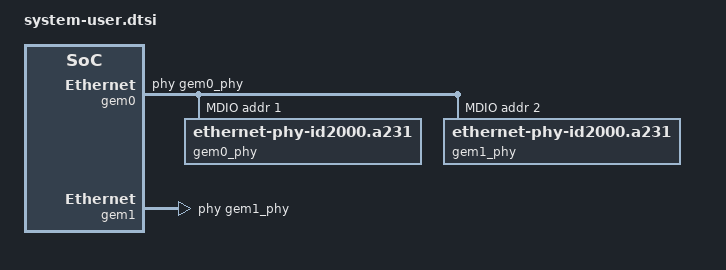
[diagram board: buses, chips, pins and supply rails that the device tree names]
// SPDX-License-Identifier: MIT
// Copyright (C) 2025-2026, Opsero Electronic Design Inc.  All rights reserved.

/*
 * SoC-side / PL device-tree fixups for VCK190, layered on top of the
 * gen-machineconf / lopper-generated <...>-linux.dts (which already carries
 * the PS config and the PL xilinx_qdma PCIe Root Ports from the XSA via
 * pl.dtsi). Scoped to the Linux domain by device-tree.bbappend.
 *
 * PCIe outbound-window fix (qdma_0 / qdma_1 `ranges`):
 *   The SDT/lopper-generated `ranges` set the PCI base address to 0x0 (i.e.
 *   PCI 0x0 -> CPU 0xa8000000), but the Versal QDMA bridge forwards CPU
 *   addresses 1:1 to the PCIe bus. With the mismatched ranges the kernel
 *   assigns endpoint BARs near PCI 0x0 while CPU accesses through the window
 *   land at PCI 0xa8000000 -> nothing responds -> AXI decode error surfaces
 *   as an Asynchronous SError and the kernel panics in nvme_pci_enable.
 *   PetaLinux's HSI-generated DT uses 1:1 ranges (PCI addr == CPU addr); we
 *   override to match. (Confirmed on hardware: with this fix both QDMA Root
 *   Ports enumerate and both NVMe SSDs probe cleanly.)
 *
 *   Format: <pci_addr(3 cells) cpu_addr(2 cells) size(2 cells)>; first entry
 *   is the 32-bit MEM window, second is the 64-bit (prefetchable) window.
 */

&qdma_0 {
	ranges = <0x02000000 0x0 0xa8000000  0x0 0xa8000000  0x0 0x04000000>,
		 <0x43000000 0x4 0x80000000  0x4 0x80000000  0x0 0x40000000>;
};

&qdma_1 {
	ranges = <0x02000000 0x0 0xac000000  0x0 0xac000000  0x0 0x04000000>,
		 <0x43000000 0x4 0xc0000000  0x4 0xc0000000  0x0 0x40000000>;
};

/* Board RJ45s (GEM0 = u198 PHY, GEM1 = u134 PHY): the SDT flow does not
 * describe the board-level TI DP83867 PHYs, so Linux falls back to the
 * Generic PHY driver and the RGMII clock delays are never programmed -
 * the link negotiates 1G but passes no packets. Both PHYs sit on GEM0's
 * MDIO bus (GEM1 has no MDIO: xlnx,has-mdio=0, matching the board).
 * Values from the official versal-vmk180-revA.dts (which vck190 dts
 * includes); reset-gpios omitted because the SDT device tree does not
 * define the gpio1 label - the PHYs power up out of reset from straps.
 * Fixed MACs (one per board, +1 for GEM1)
 * replace the random ones the SDT flow leaves us with, keeping DHCP
 * leases stable across boots.
 * Ported from the 2x-qsfp28-fmc vck190 Yocto BSP (HW-verified on VCK190).
 */
&gem0 {
	local-mac-address = [00 0a 35 06 21 90];
	phy-handle = <&gem0_phy>;
	mdio {
		#address-cells = <1>;
		#size-cells = <0>;
		gem0_phy: ethernet-phy@1 {
			compatible = "ethernet-phy-id2000.a231";
			reg = <1>;
			ti,rx-internal-delay = <0xb>;
			ti,tx-internal-delay = <0xa>;
			ti,fifo-depth = <0x1>;
			ti,dp83867-rxctrl-strap-quirk;
		};
		gem1_phy: ethernet-phy@2 {
			compatible = "ethernet-phy-id2000.a231";
			reg = <2>;
			ti,rx-internal-delay = <0xb>;
			ti,tx-internal-delay = <0xa>;
			ti,fifo-depth = <0x1>;
			ti,dp83867-rxctrl-strap-quirk;
		};
	};
};
&gem1 {
	local-mac-address = [00 0a 35 06 21 91];
	phy-handle = <&gem1_phy>;
};
